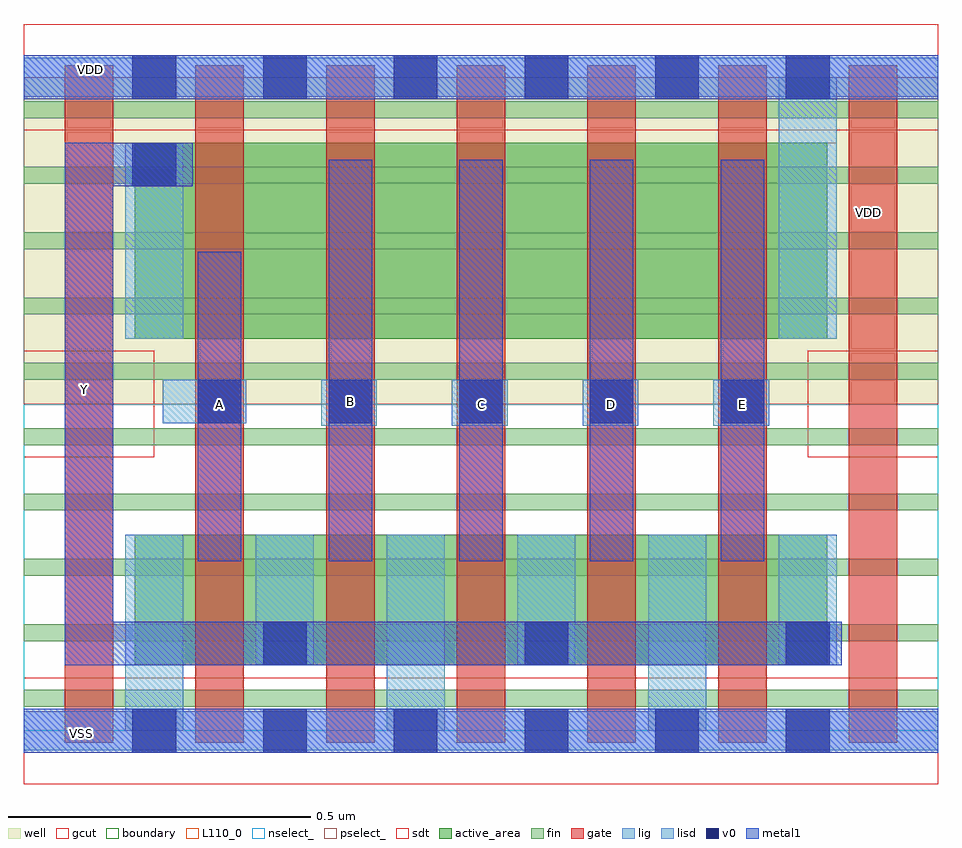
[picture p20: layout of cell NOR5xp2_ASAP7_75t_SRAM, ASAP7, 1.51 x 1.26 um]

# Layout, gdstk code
import gdstk
lib = gdstk.Library(unit=1e-6, precision=2.5e-10)
def R(c, l, rs):  # rectangles x0, y0, x1, y1
    for r in rs: c.add(gdstk.rectangle(r[:2], r[2:], *l))
def A(c, l, x, y, w, h, nx, ny, dx, dy):  # array of equal rectangles
    R(c, l, [(x+i*dx, y+j*dy, x+i*dx+w, y+j*dy+h) for i in range(nx) for j in range(ny)])
def P(c, l, *ps):  # polygons
    for p in ps: c.add(gdstk.Polygon(p, *l))
well = (1, 0)
fin = (2, 0)
gate = (7, 0)
gcut = (10, 0)
active_area = (11, 0)
nselect_ = (12, 0)
pselect_ = (13, 0)
lig = (16, 0)
lisd = (17, 0)
v0 = (18, 0)
metal1 = (19, 0)
sdt = (88, 0)
boundary = (100, 0)
L110_0 = (110, 0)

nor5xp2_asap7_75t_sram = lib.new_cell('NOR5xp2_ASAP7_75t_SRAM')
R(nor5xp2_asap7_75t_sram, well, [(0,0.54,1.512,1.08)])
A(nor5xp2_asap7_75t_sram, fin, 0, 0.04, 1.512, 0.028, 1, 10, 0, 0.108)
A(nor5xp2_asap7_75t_sram, gate, 0.068, -0.02, 0.08, 1.12, 7, 1, 0.216, 0)
R(nor5xp2_asap7_75t_sram, gcut, [(0,-0.088,1.512,0.088), (0,0.452,0.216,0.628), (1.296,0.452,1.512,0.628), (0,0.992,1.512,1.168)])
R(nor5xp2_asap7_75t_sram, active_area, [(0.184,0.108,1.328,0.324), (0.184,0.648,1.328,0.972)])
R(nor5xp2_asap7_75t_sram, nselect_, [(0,0,1.512,0.54)])
R(nor5xp2_asap7_75t_sram, pselect_, [(0,0.54,1.512,1.08)])
A(nor5xp2_asap7_75t_sram, lig, 0.492, 0.504, 0.092, 0.076, 4, 1, 0.216, 0)
R(nor5xp2_asap7_75t_sram, lig, [(0,-0.032,1.512,0.032), (0.23,0.508,0.368,0.58), (0,1.048,1.512,1.112)])
A(nor5xp2_asap7_75t_sram, lisd, 0.168, 0, 0.096, 0.324, 3, 1, 0.432, 0)
A(nor5xp2_asap7_75t_sram, lisd, 0.384, 0.108, 0.096, 0.216, 3, 1, 0.432, 0)
R(nor5xp2_asap7_75t_sram, lisd, [(0.168,0.648,0.264,0.972), (1.248,0.648,1.344,1.08)])
A(nor5xp2_asap7_75t_sram, v0, 0.18, -0.036, 0.072, 0.072, 6, 2, 0.216, 1.08)
A(nor5xp2_asap7_75t_sram, v0, 0.396, 0.108, 0.072, 0.072, 3, 1, 0.432, 0)
A(nor5xp2_asap7_75t_sram, v0, 0.288, 0.508, 0.072, 0.072, 5, 1, 0.216, 0)
R(nor5xp2_asap7_75t_sram, v0, [(0.18,0.9,0.252,0.972)])
A(nor5xp2_asap7_75t_sram, metal1, 0.504, 0.28, 0.072, 0.664, 4, 1, 0.216, 0)
R(nor5xp2_asap7_75t_sram, metal1, [(0,-0.036,1.512,0.036), (0.288,0.28,0.36,0.792), (0,1.044,1.512,1.116)])
P(nor5xp2_asap7_75t_sram, metal1, [(1.352,0.18),(0.148,0.18),(0.148,0.9),(0.28,0.9),(0.28,0.972),(0.068,0.972),(0.068,0.108),(1.352,0.108)])
A(nor5xp2_asap7_75t_sram, sdt, 0.168, 0.108, 0.096, 0.216, 6, 1, 0.216, 0)
R(nor5xp2_asap7_75t_sram, sdt, [(0.168,0.648,0.264,0.972), (1.248,0.648,1.344,0.972)])
R(nor5xp2_asap7_75t_sram, boundary, [(0,0,1.512,1.08)])
R(nor5xp2_asap7_75t_sram, L110_0, [(0,0,1.512,1.08)])
nor5xp2_asap7_75t_sram.add(gdstk.Label('VSS', (1.672,0.852), layer=3, texttype=251))
nor5xp2_asap7_75t_sram.add(gdstk.Label('VDD', (1.396,0.856), layer=1, texttype=251))
nor5xp2_asap7_75t_sram.add(gdstk.Label('B', (0.54,0.544), layer=19, texttype=251))
nor5xp2_asap7_75t_sram.add(gdstk.Label('A', (0.324,0.54), layer=19, texttype=251))
nor5xp2_asap7_75t_sram.add(gdstk.Label('B', (0.54,0.544), layer=19, texttype=251))
nor5xp2_asap7_75t_sram.add(gdstk.Label('A', (0.324,0.54), layer=19, texttype=251))
nor5xp2_asap7_75t_sram.add(gdstk.Label('Y', (0.1,0.564), layer=19, texttype=251))
nor5xp2_asap7_75t_sram.add(gdstk.Label('D', (0.972,0.54), layer=19, texttype=251))
nor5xp2_asap7_75t_sram.add(gdstk.Label('VSS', (0.096,-0.004), layer=19, texttype=251))
nor5xp2_asap7_75t_sram.add(gdstk.Label('E', (1.188,0.54), layer=19, texttype=251))
nor5xp2_asap7_75t_sram.add(gdstk.Label('C', (0.756,0.54), layer=19, texttype=251))
nor5xp2_asap7_75t_sram.add(gdstk.Label('VDD', (0.11,1.092), layer=19, texttype=251))

lib.write_gds('NOR5xp2_ASAP7_75t_SRAM.gds')
